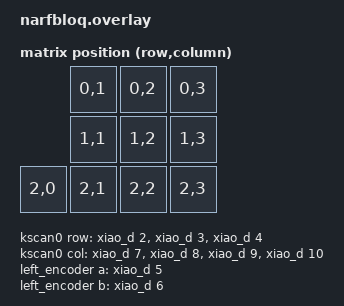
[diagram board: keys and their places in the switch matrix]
/*
 * Copyright (c) 2020 The ZMK Contributors
 *
 * SPDX-License-Identifier: MIT
 */

#include <dt-bindings/zmk/matrix_transform.h>

/ {
    chosen {
        zmk,kscan = &kscan0;
        zmk,matrix_transform = &default_transform;
    };

    default_transform: keymap_transform_0 {
        compatible = "zmk,matrix-transform";
        columns = <4>;
        rows = <3>;
        map = <
                RC(0,1) RC(0,2) RC(0,3)
                RC(1,1) RC(1,2) RC(1,3)
        RC(2,0) RC(2,1) RC(2,2) RC(2,3)
        >;
    };

    kscan0: kscan {
        compatible = "zmk,kscan-gpio-matrix";
        label = "KSCAN";
        diode-direction = "col2row";

        row-gpios
            = <&xiao_d 2 (GPIO_ACTIVE_HIGH | GPIO_PULL_DOWN)>
            , <&xiao_d 3 (GPIO_ACTIVE_HIGH | GPIO_PULL_DOWN)>
            , <&xiao_d 4 (GPIO_ACTIVE_HIGH | GPIO_PULL_DOWN)>
            ;

        col-gpios
            = <&xiao_d 7 GPIO_ACTIVE_HIGH>
            , <&xiao_d 8 GPIO_ACTIVE_HIGH>
            , <&xiao_d 9 GPIO_ACTIVE_HIGH>
            , <&xiao_d 10 GPIO_ACTIVE_HIGH>
            ;
    };

    left_encoder: encoder_left {
        compatible = "alps,ec11";
        label = "encoder";
        a-gpios = <&xiao_d 5 (GPIO_ACTIVE_HIGH | GPIO_PULL_UP)>;
        b-gpios = <&xiao_d 6 (GPIO_ACTIVE_HIGH | GPIO_PULL_UP)>;
        resolution = <2>;
        status = "okay";
    };

    sensors {
        compatible = "zmk,keymap-sensors";
        sensors = <&left_encoder>;
    };
};
